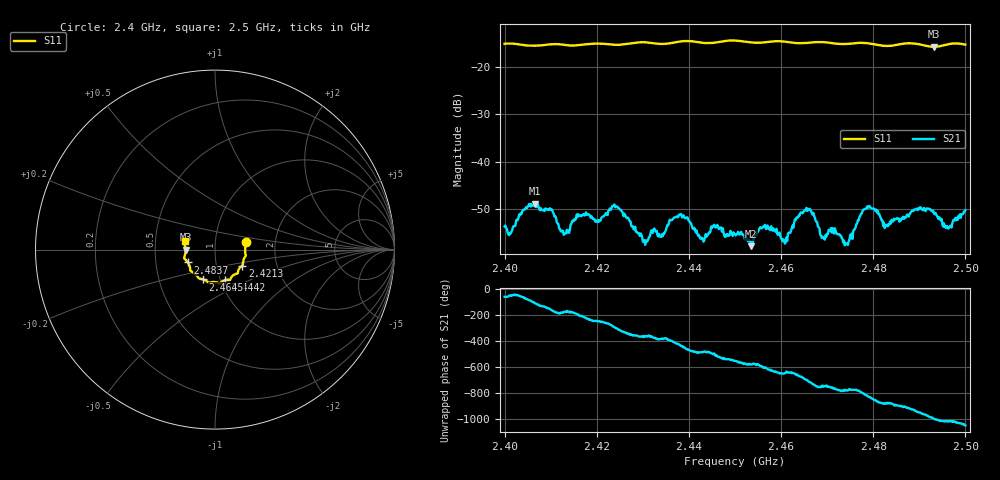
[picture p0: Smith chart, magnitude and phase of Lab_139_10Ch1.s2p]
# Hz S RI R 50
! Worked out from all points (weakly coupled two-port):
!   601 points, 2.4 GHz to 2.5 GHz, reference 50 ohm
!   highest |S21| = -48.89 dB at 2.4067 GHz (marker M1); lowest = -57.9 dB at 2.4535 GHz (marker M2)
!   lowest |S11| = -15.7 dB at 2.4932 GHz (marker M3), VSWR 1.39, Z = 35.9 - j0.0561 ohm
!   |S11| at or under -10 dB: start of sweep to end of sweep
!   S12 and S22 are empty: the file has one direction only
!   S11 on the Smith chart (normalised r, x): 2.4 GHz: 1.41, +0.12; 2.4213 GHz: 1.33, -0.25; 2.4442 GHz: 1.05, -0.37; 2.4645 GHz: 0.83, -0.29; 2.4837 GHz: 0.73, -0.11; 2.5 GHz: 0.71, +0.07
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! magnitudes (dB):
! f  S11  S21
! 2.4 GHz  -15.1  -53.7
! 2.4067 GHz  -15.5  -48.9
! 2.4128 GHz  -15.3  -55.5
! 2.4167 GHz  -15.3  -51.5
! 2.4213 GHz  -15.1  -51.6
! 2.4242 GHz  -15.3  -49.4
! 2.4333 GHz  -15.1  -55.8
! 2.4383 GHz  -14.6  -51.1
! 2.4442 GHz  -15.0  -55.4
! 2.45 GHz  -14.4  -55.3
! 2.4535 GHz  -14.8  -57.9
! 2.4608 GHz  -14.6  -57.3
! 2.4645 GHz  -15.0  -50.8
! 2.4667 GHz  -14.8  -50.9
! 2.469 GHz  -14.7  -55.9
! 2.474 GHz  -15.1  -57.2
! 2.4787 GHz  -15.0  -49.5
! 2.4833 GHz  -15.6  -53.2
! 2.4837 GHz  -15.5  -52.7
! 2.4932 GHz  -15.7  -50.9
! 2.496 GHz  -15.3  -53.6
! 2.5 GHz  -15.3  -50.3
